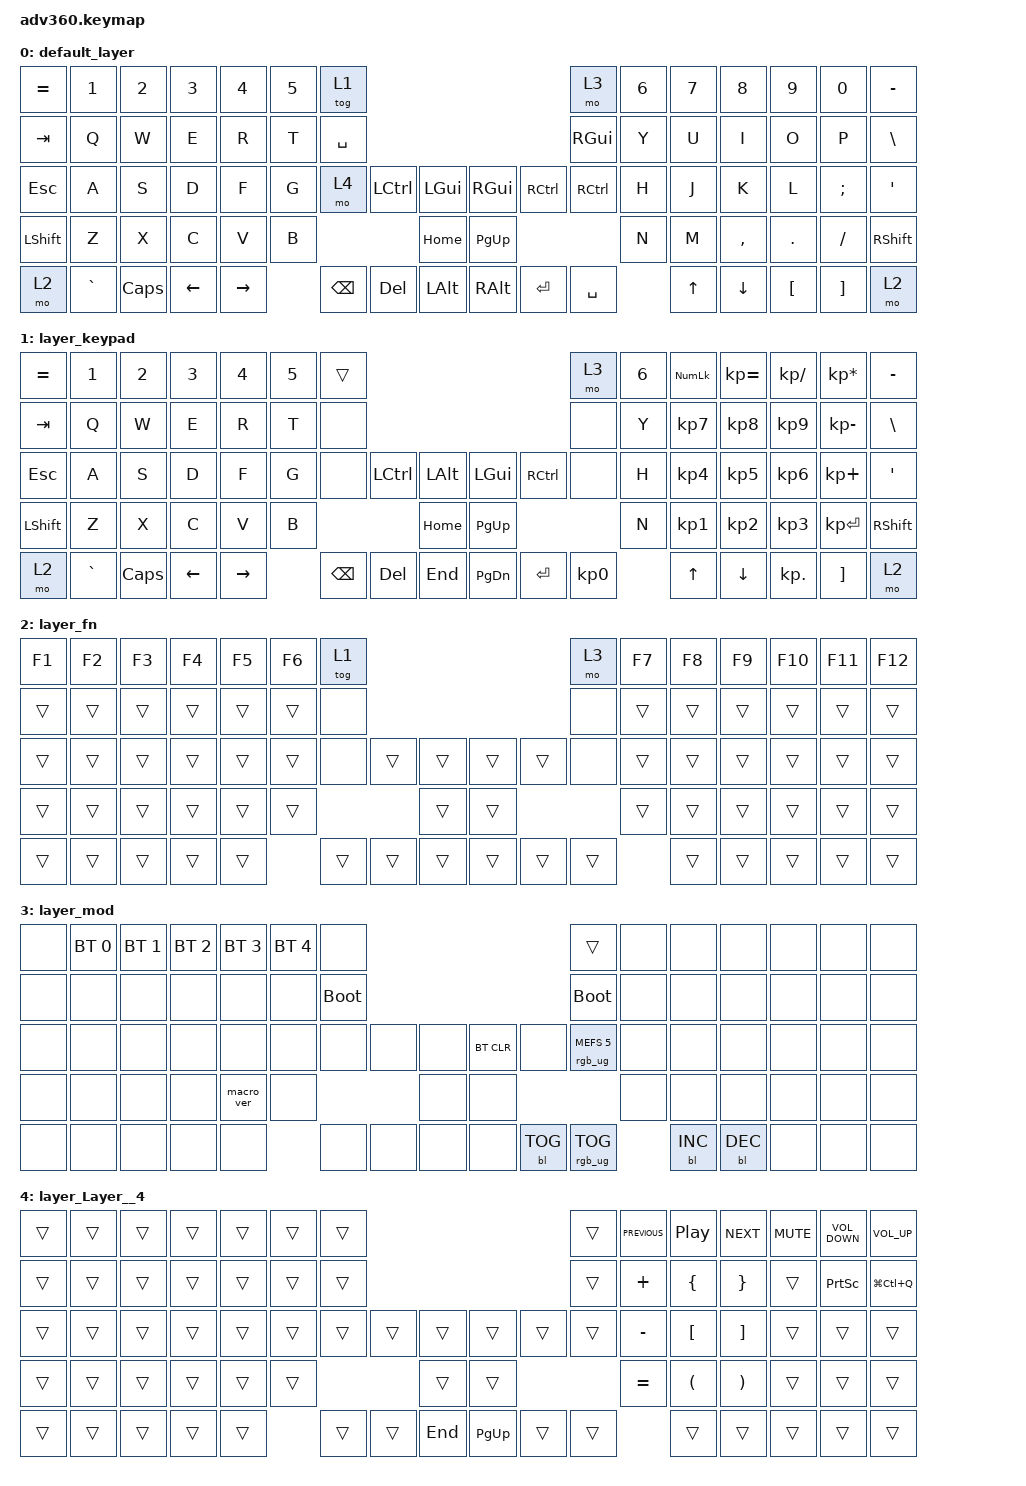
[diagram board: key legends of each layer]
/*
 * Copyright (c) 2020 The ZMK Contributors
 *
 * SPDX-License-Identifier: MIT
 */
/* THIS FILE WAS GENERATED!
 *
 * This file was generated automatically. You may or may not want to
 * edit it directly.
 */

#include <behaviors.dtsi>
#include <dt-bindings/zmk/backlight.h>
#include <dt-bindings/zmk/bt.h>
#include <dt-bindings/zmk/keys.h>
#include <dt-bindings/zmk/rgb.h>

/ {
    behaviors {
        #include "macros.dtsi"
    #include "version.dtsi"

        hm: homerow_mods {
            compatible = "zmk,behavior-hold-tap";
            label = "HOMEROW_MODS";
            #binding-cells = <2>;
            tapping-term-ms = <200>;
            quick_tap_ms = <175>;
            flavor = "tap-preferred";
            bindings = <&kp>, <&kp>;
        };
    };

    keymap {
        compatible = "zmk,keymap";

        default_layer {
            bindings = <
&kp EQUAL  &kp N1     &kp N2    &kp N3    &kp N4     &kp N5  &tog 1                                                            &mo 3      &kp N6  &kp N7  &kp N8     &kp N9    &kp N0    &kp MINUS
&kp TAB    &kp Q      &kp W     &kp E     &kp R      &kp T   &kp SPACE                                                         &kp RGUI   &kp Y   &kp U   &kp I      &kp O     &kp P     &kp BSLH
&kp ESC    &kp A      &kp S     &kp D     &kp F      &kp G   &mo 4      &kp LCTRL  &kp LEFT_GUI      &kp RIGHT_GUI  &kp RCTRL  &kp RCTRL  &kp H   &kp J   &kp K      &kp L     &kp SEMI  &kp SQT
&kp LSHFT  &kp Z      &kp X     &kp C     &kp V      &kp B                         &kp HOME          &kp PG_UP                            &kp N   &kp M   &kp COMMA  &kp DOT   &kp FSLH  &kp RSHFT
&mo 2      &kp GRAVE  &kp CAPS  &kp LEFT  &kp RIGHT          &kp BSPC   &kp DEL    &kp LEFT_ALT      &kp RIGHT_ALT  &kp ENTER  &kp SPACE          &kp UP  &kp DOWN   &kp LBKT  &kp RBKT  &mo 2
            >;
        };

        layer_keypad {
            bindings = <
&kp EQUAL  &kp N1     &kp N2    &kp N3    &kp N4     &kp N5  &trans                                                   &mo 3      &kp N6  &kp KP_NUM  &kp KP_EQUAL  &kp KP_DIVIDE  &kp KP_MULTIPLY  &kp MINUS
&kp TAB    &kp Q      &kp W     &kp E     &kp R      &kp T   &none                                                    &none      &kp Y   &kp KP_N7   &kp KP_N8     &kp KP_N9      &kp KP_MINUS     &kp BSLH
&kp ESC    &kp A      &kp S     &kp D     &kp F      &kp G   &none     &kp LCTRL  &kp LALT      &kp LGUI   &kp RCTRL  &none      &kp H   &kp KP_N4   &kp KP_N5     &kp KP_N6      &kp KP_PLUS      &kp SQT
&kp LSHFT  &kp Z      &kp X     &kp C     &kp V      &kp B                        &kp HOME      &kp PG_UP                        &kp N   &kp KP_N1   &kp KP_N2     &kp KP_N3      &kp KP_ENTER     &kp RSHFT
&mo 2      &kp GRAVE  &kp CAPS  &kp LEFT  &kp RIGHT          &kp BSPC  &kp DEL    &kp END       &kp PG_DN  &kp ENTER  &kp KP_N0          &kp UP      &kp DOWN      &kp KP_DOT     &kp RBKT         &mo 2
            >;
        };

        layer_fn {
            bindings = <
&kp F1  &kp F2  &kp F3  &kp F4  &kp F5  &kp F6  &tog 1                                      &mo 3   &kp F7  &kp F8  &kp F9  &kp F10  &kp F11  &kp F12
&trans  &trans  &trans  &trans  &trans  &trans  &none                                       &none   &trans  &trans  &trans  &trans   &trans   &trans
&trans  &trans  &trans  &trans  &trans  &trans  &none   &trans  &trans      &trans  &trans  &none   &trans  &trans  &trans  &trans   &trans   &trans
&trans  &trans  &trans  &trans  &trans  &trans                  &trans      &trans                  &trans  &trans  &trans  &trans   &trans   &trans
&trans  &trans  &trans  &trans  &trans          &trans  &trans  &trans      &trans  &trans  &trans          &trans  &trans  &trans   &trans   &trans
            >;
        };

        layer_mod {
            bindings = <
&none  &bt BT_SEL 0  &bt BT_SEL 1  &bt BT_SEL 2  &bt BT_SEL 3  &bt BT_SEL 4  &none                                                  &trans                  &none  &none       &none       &none  &none  &none
&none  &none         &none         &none         &none         &none         &bootloader                                            &bootloader             &none  &none       &none       &none  &none  &none
&none  &none         &none         &none         &none         &none         &none        &none  &none      &bt BT_CLR  &none       &rgb_ug RGB_MEFS_CMD 5  &none  &none       &none       &none  &none  &none
&none  &none         &none         &none         &macro_ver    &none                             &none      &none                                           &none  &none       &none       &none  &none  &none
&none  &none         &none         &none         &none                       &none        &none  &none      &none       &bl BL_TOG  &rgb_ug RGB_TOG                &bl BL_INC  &bl BL_DEC  &none  &none  &none
            >;
        };

        layer_Layer__4 {
            bindings = <
&trans  &trans  &trans  &trans  &trans  &trans  &trans                                            &trans  &kp C_PREVIOUS  &kp C_PP              &kp C_NEXT             &kp K_MUTE  &kp C_VOLUME_DOWN  &kp C_VOLUME_UP
&trans  &trans  &trans  &trans  &trans  &trans  &trans                                            &trans  &kp PLUS        &kp LEFT_BRACE        &kp RIGHT_BRACE        &trans      &kp PRINTSCREEN    &kp LG(LC(Q))
&trans  &trans  &trans  &trans  &trans  &trans  &trans  &trans  &trans       &trans       &trans  &trans  &kp MINUS       &kp LBKT              &kp RBKT               &trans      &trans             &trans
&trans  &trans  &trans  &trans  &trans  &trans                  &trans       &trans                       &kp EQUAL       &kp LEFT_PARENTHESIS  &kp RIGHT_PARENTHESIS  &trans      &trans             &trans
&trans  &trans  &trans  &trans  &trans          &trans  &trans  &kp END      &kp PAGE_UP  &trans  &trans                  &trans                &trans                 &trans      &trans             &trans
            >;
        };
    };
};
